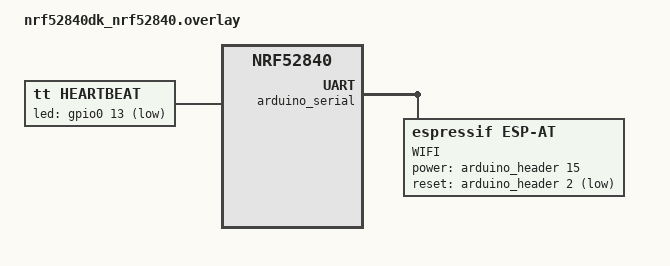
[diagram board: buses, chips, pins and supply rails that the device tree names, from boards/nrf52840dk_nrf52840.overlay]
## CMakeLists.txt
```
cmake_minimum_required(VERSION 3.20.0)
find_package(Zephyr REQUIRED HINTS $ENV{ZEPHYR_BASE})

project(iod-device)

target_sources(app PRIVATE src/main.c)
```

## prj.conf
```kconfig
CONFIG_ASSERT=y
CONFIG_AZ=y
CONFIG_CJSON_LIB=y
CONFIG_DEBUG=y
CONFIG_DNS_RESOLVER=y
CONFIG_DNS_RESOLVER_MAX_SERVERS=3
CONFIG_DNS_SERVER1="1.1.1.1"
CONFIG_DNS_SERVER2="8.8.8.8"
CONFIG_DNS_SERVER3="9.9.9.9"
CONFIG_DNS_SERVER_IP_ADDRESSES=y
CONFIG_FPU=y
CONFIG_GPIO=y
CONFIG_HEAP_MEM_POOL_SIZE=4096
CONFIG_HWINFO=y
CONFIG_MAIN_STACK_SIZE=4096
CONFIG_MBEDTLS_CIPHER_GCM_ENABLED=y
CONFIG_MBEDTLS_ECP_DP_SECP256R1_ENABLED=y
CONFIG_MBEDTLS_KEY_EXCHANGE_ECDHE_ECDSA_ENABLED=y
CONFIG_MBEDTLS_SSL_MAX_CONTENT_LEN=4096
CONFIG_MQTT_LIB=y
CONFIG_MQTT_LIB_TLS=y
CONFIG_NETWORKING=y
CONFIG_NET_BUF_LOG=y
CONFIG_NET_IPV4=y
CONFIG_NET_LOG=y
CONFIG_NET_SOCKETS_SOCKOPT_TLS=y
CONFIG_NET_TCP=y
CONFIG_NEWLIB_LIBC=y
CONFIG_NEWLIB_LIBC_FLOAT_PRINTF=y
CONFIG_REBOOT=y
CONFIG_SNTP=y
CONFIG_THREAD_NAME=y
CONFIG_EASY_AZURE=y
CONFIG_EASY_AZURE_D2C_MESSAGES=y
CONFIG_EASY_AZURE_IOT_HUB_CNAME="iothub.azure-devices.net"
CONFIG_EASY_WIFI=y
CONFIG_WIFI=y
CONFIG_WIFI_ESP_AT=y
CONFIG_WIFI_ESP_AT_MDM_RING_BUF_SIZE=4096
CONFIG_WIFI_ESP_AT_PASSIVE_MODE=y
```

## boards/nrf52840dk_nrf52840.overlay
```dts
/ {
	heartbeat {
		compatible = "tt,heartbeat";
		label = "HEARTBEAT";
		led-gpios = <&gpio0 13 GPIO_ACTIVE_LOW>;
	};
};

&arduino_serial {
	status = "okay";

	esp-wifi-modem {
		compatible = "espressif,esp-at";
		label = "WIFI";
		target-speed = <1000000>;

		/*
		 * Arduino Click Shield - mikroBUS2
		 */
		power-gpios = <&arduino_header 15 GPIO_ACTIVE_HIGH>; /* D9 */
		reset-gpios = <&arduino_header  2 GPIO_ACTIVE_LOW>;  /* A2 */
	};
};
```

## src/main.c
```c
#include <zephyr/posix/time.h>

#include <cJSON.h>
#include <cJSON_os.h>
#include <device.h>
#include <easy_azure.h>
#include <easy_wifi.h>
#include <init.h>
#include <logging/log.h>
#include <net/sntp.h>
#include <net/tls_credentials.h>
#include <sys/reboot.h>
#include <zephyr.h>

LOG_MODULE_REGISTER(app, LOG_LEVEL_DBG);

#define PSK  ""
#define SSID ""

#define NTP_HOST       "pool.ntp.org"
#define NTP_TIMEOUT_MS 5000
#define NTP_PRECISION  10000000000

#define AZ_SEC_TAG CONFIG_EASY_AZURE_SEC_TAG

#define DEVICE_IDX 0

static const char server_ca[] = "-----BEGIN CERTIFICATE-----\r\n"
				"...\r\n"
				"R9I4LtD+gdwyah617jzV/OeBHRnDJELqYzmp\r\n"
				"-----END CERTIFICATE-----\r\n";
static const char device_crt[] = "-----BEGIN CERTIFICATE-----\r\n"
				 "...\r\n"
				 "R9I4LtD+gdwyah617jzV/OeBHRnDJELqYzmp\r\n"
				 "-----END CERTIFICATE-----\r\n";
static const char device_key[] = "-----BEGIN EC PRIVATE KEY-----\r\n"
				 "...\r\n"
				 "R9I4LtD+gdwyah617jzV/OeBHRnDJELqYzmp\r\n"
				 "-----END EC PRIVATE KEY-----\r\n";
static const char device_id[] = "...";

static unsigned int counter = 0;

time_t time(time_t *tloc)
{
	struct timespec ts;
	int ret;

	ret = clock_gettime(CLOCK_REALTIME, &ts);
	if (ret < 0) {
		return ret;
	}

	if (tloc) {
		*tloc = ts.tv_sec;
	}

	return ts.tv_sec;
}

static int add_credentials(void)
{
	int ret;

	ret = tls_credential_add(AZ_SEC_TAG, TLS_CREDENTIAL_CA_CERTIFICATE, server_ca,
				 sizeof(server_ca));
	if (ret) {
		LOG_WRN("Failed to register ca certificate: %d", ret);
	}

	ret = tls_credential_add(AZ_SEC_TAG, TLS_CREDENTIAL_SERVER_CERTIFICATE, device_crt,
				 sizeof(device_crt));
	if (ret) {
		LOG_WRN("Failed to register device certificate: %d", ret);
	}

	ret = tls_credential_add(AZ_SEC_TAG, TLS_CREDENTIAL_PRIVATE_KEY, device_key,
				 sizeof(device_key));
	if (ret) {
		LOG_WRN("Failed to register device key: %d", ret);
	}

	return 0;
}

void main(void)
{
	int ret;

	cJSON *msg = NULL;
	cJSON *msg_device_id = NULL;
	cJSON *msg_counter = NULL;

	cJSON_Init();

	msg = cJSON_CreateObject();
	if (!msg) {
		LOG_WRN("cJSON_CreateObject failed");
	}

	msg_device_id = cJSON_CreateString(device_id);
	if (!msg_device_id) {
		LOG_WRN("cJSON_CreateString failed");
	}
	cJSON_AddItemToObject(msg, "device_id", msg_device_id);

	msg_counter = cJSON_CreateNumber(0);
	if (!msg_counter) {
		LOG_WRN("cJSON_CreateNumber failed");
	}
	cJSON_AddItemToObject(msg, "counter", msg_counter);

	ret = add_credentials();
	__ASSERT(!ret, "add_credentials failed: %d", ret);

	while (true) {
		ret = easy_wifi_connect(SSID, PSK, K_SECONDS(30));
		if (ret && ret != -EALREADY) {
			LOG_ERR("easy_wifi_connect failed: %d", ret);
			goto sleep;
		}

		ret = easy_azure_connect(device_id);
		if (ret) {
			LOG_ERR("easy_azure_connect failed: %d", ret);
			goto sleep;
		}

		// ---

		cJSON_SetIntValue(msg_counter, counter++);

		char *msg_str = cJSON_PrintUnformatted(msg);
		if (!msg_str) {
			LOG_ERR("cJSON_PrintUnformatted failed");
			goto sleep;
		}

		LOG_HEXDUMP_DBG(msg_str, strlen(msg_str), "msg_str");

		ret = easy_azure_send_message(msg_str, strlen(msg_str));
		if (ret) {
			LOG_WRN("easy_azure_send_message failed: %d", ret);
		}

		cJSON_FreeString(msg_str);

		// ---

	sleep:
		ret = easy_azure_disconnect();
		if (ret) {
			LOG_WRN("easy_azure_disconnect failed: %d", ret);
		}

		ret = easy_wifi_disconnect(K_SECONDS(30));
		if (ret) {
			LOG_WRN("easy_wifi_disconnect failed: %d", ret);
		}

		k_sleep(K_SECONDS(30));
	}

	cJSON_Delete(msg);
}
```
